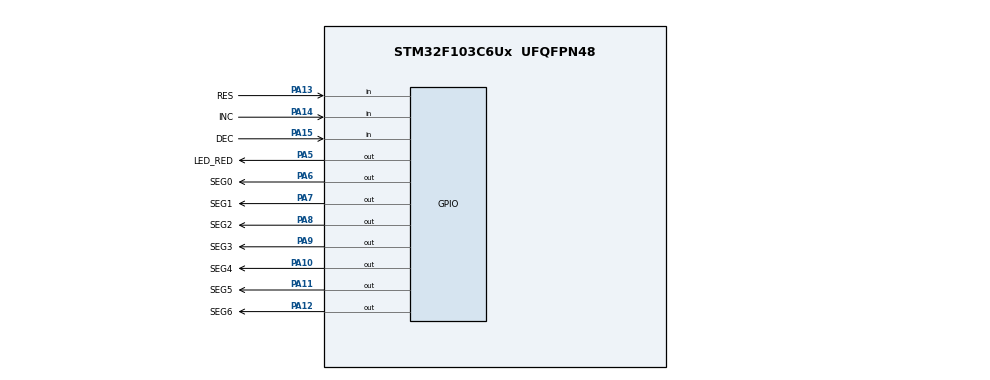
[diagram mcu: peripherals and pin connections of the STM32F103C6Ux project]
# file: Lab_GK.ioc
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Mcu.Family=STM32F1
Mcu.Name=STM32F103C6Ux
Mcu.Package=UFQFPN48
NVIC.PriorityGroup=NVIC_PRIORITYGROUP_4
NVIC.TIM2_IRQn=true\:0\:0\:false\:false\:true\:true\:true
PA10.GPIO_Label=SEG4
PA10.Signal=GPIO_Output
PA11.GPIO_Label=SEG5
PA11.Signal=GPIO_Output
PA12.GPIO_Label=SEG6
PA12.Signal=GPIO_Output
PA13.GPIO_Label=RES
PA13.GPIO_PuPd=GPIO_PULLUP
PA13.Signal=GPIO_Input
PA14.GPIO_Label=INC
PA14.GPIO_PuPd=GPIO_PULLUP
PA14.Signal=GPIO_Input
PA15.GPIO_Label=DEC
PA15.GPIO_PuPd=GPIO_PULLUP
PA15.Signal=GPIO_Input
PA5.GPIO_Label=LED_RED
PA5.Signal=GPIO_Output
PA6.GPIO_Label=SEG0
PA6.Signal=GPIO_Output
PA7.GPIO_Label=SEG1
PA7.Signal=GPIO_Output
PA8.GPIO_Label=SEG2
PA8.Signal=GPIO_Output
PA9.GPIO_Label=SEG3
PA9.Signal=GPIO_Output
ProjectManager.HeapSize=0x200
ProjectManager.StackSize=0x400
ProjectManager.TargetToolchain=STM32CubeIDE
RCC.APB1Freq_Value=8000000
RCC.APB2Freq_Value=8000000
TIM2.Period=9
TIM2.Prescaler=7999
VP_SYS_VS_ND.Mode=No_Debug
VP_TIM2_VS_ClockSourceINT.Mode=Internal
board=custom

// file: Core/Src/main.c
/* USER CODE BEGIN Header */
/**
  ******************************************************************************
  * @file           : main.c
  * @brief          : Main program body
  ******************************************************************************
  * @attention
  *
  * <h2><center>&copy; Copyright (c) 2022 STMicroelectronics.
  * All rights reserved.</center></h2>
  *
  * This software component is licensed by ST under BSD 3-Clause license,
  * the "License"; You may not use this file except in compliance with the
  * License. You may obtain a copy of the License at:
  *                        opensource.org/licenses/BSD-3-Clause
  *
  ******************************************************************************
  */
/* USER CODE END Header */
#include "main.h"

/* USER CODE BEGIN Includes */
#include "button.h"
#include "fsm_automatic.h"
#include "setTimer.h"
#include "fsm_manual_step2.h"
#include "led_blinky.h"
/* USER CODE END Includes */

TIM_HandleTypeDef htim2;

void SystemClock_Config(void);
static void MX_GPIO_Init(void);
static void MX_TIM2_Init(void);

int main(void)
{
  /* USER CODE BEGIN 1 */

  /* USER CODE END  1  */

  /* MCU Configuration--------------------------------------------------------*/

  /* Reset of all peripherals, Initializes the Flash interface and the Systick. */
  HAL_Init();

  /* Configure the system clock */
  SystemClock_Config();

  /* Initialize all configured peripherals */
  MX_GPIO_Init();
  MX_TIM2_Init();
  HAL_TIM_Base_Start_IT(&htim2);
  /* Infinite loop */
  /* USER CODE BEGIN WHILE */
  status=INIT;
  setTimer0(1000);
  led=0;
  while (1)
  {
    /* USER CODE END WHILE */

    /* USER CODE BEGIN 3 */
	  fsm_simple_buttons_run ();
	  led_blinky();
  }
  /* USER CODE END 3 */
}

void SystemClock_Config(void)
{
  RCC_OscInitTypeDef RCC_OscInitStruct = {0};
  RCC_ClkInitTypeDef RCC_ClkInitStruct = {0};

  /** Initializes the RCC Oscillators according to the specified parameters
  * in the RCC_OscInitTypeDef structure.
  */
  RCC_OscInitStruct.OscillatorType = RCC_OSCILLATORTYPE_HSI;
  RCC_OscInitStruct.HSIState = RCC_HSI_ON;
  RCC_OscInitStruct.HSICalibrationValue = RCC_HSICALIBRATION_DEFAULT;
  RCC_OscInitStruct.PLL.PLLState = RCC_PLL_NONE;
  if (HAL_RCC_OscConfig(&RCC_OscInitStruct) != HAL_OK)
  {
    Error_Handler();
  }
  /** Initializes the CPU, AHB and APB buses clocks
  */
  RCC_ClkInitStruct.ClockType = RCC_CLOCKTYPE_HCLK|RCC_CLOCKTYPE_SYSCLK
                              |RCC_CLOCKTYPE_PCLK1|RCC_CLOCKTYPE_PCLK2;
  RCC_ClkInitStruct.SYSCLKSource = RCC_SYSCLKSOURCE_HSI;
  RCC_ClkInitStruct.AHBCLKDivider = RCC_SYSCLK_DIV1;
  RCC_ClkInitStruct.APB1CLKDivider = RCC_HCLK_DIV1;
  RCC_ClkInitStruct.APB2CLKDivider = RCC_HCLK_DIV1;

  if (HAL_RCC_ClockConfig(&RCC_ClkInitStruct, FLASH_LATENCY_0) != HAL_OK)
  {
    Error_Handler();
  }
}

static void MX_TIM2_Init(void)
{

  TIM_ClockConfigTypeDef sClockSourceConfig = {0};
  TIM_MasterConfigTypeDef sMasterConfig = {0};

  htim2.Instance = TIM2;
  htim2.Init.Prescaler = 7999;
  htim2.Init.CounterMode = TIM_COUNTERMODE_UP;
  htim2.Init.Period = 9;
  htim2.Init.ClockDivision = TIM_CLOCKDIVISION_DIV1;
  htim2.Init.AutoReloadPreload = TIM_AUTORELOAD_PRELOAD_DISABLE;
  if (HAL_TIM_Base_Init(&htim2) != HAL_OK)
  {
    Error_Handler();
  }
  sClockSourceConfig.ClockSource = TIM_CLOCKSOURCE_INTERNAL;
  if (HAL_TIM_ConfigClockSource(&htim2, &sClockSourceConfig) != HAL_OK)
  {
    Error_Handler();
  }
  sMasterConfig.MasterOutputTrigger = TIM_TRGO_RESET;
  sMasterConfig.MasterSlaveMode = TIM_MASTERSLAVEMODE_DISABLE;
  if (HAL_TIMEx_MasterConfigSynchronization(&htim2, &sMasterConfig) != HAL_OK)
  {
    Error_Handler();
  }

}

static void MX_GPIO_Init(void)
{
  GPIO_InitTypeDef GPIO_InitStruct = {0};

  /* GPIO Ports Clock Enable */
  __HAL_RCC_GPIOA_CLK_ENABLE();

  /*Configure GPIO pin Output Level */
  HAL_GPIO_WritePin(GPIOA, LED_RED_Pin|SEG0_Pin|SEG1_Pin|SEG2_Pin
                          |SEG3_Pin|SEG4_Pin|SEG5_Pin|SEG6_Pin, GPIO_PIN_RESET);

  /*Configure GPIO pins : LED_RED_Pin SEG0_Pin SEG1_Pin SEG2_Pin
                           SEG3_Pin SEG4_Pin SEG5_Pin SEG6_Pin */
  GPIO_InitStruct.Pin = LED_RED_Pin|SEG0_Pin|SEG1_Pin|SEG2_Pin
                          |SEG3_Pin|SEG4_Pin|SEG5_Pin|SEG6_Pin;
  GPIO_InitStruct.Mode = GPIO_MODE_OUTPUT_PP;
  GPIO_InitStruct.Pull = GPIO_NOPULL;
  GPIO_InitStruct.Speed = GPIO_SPEED_FREQ_LOW;
  HAL_GPIO_Init(GPIOA, &GPIO_InitStruct);

  /*Configure GPIO pins : RES_Pin INC_Pin DEC_Pin */
  GPIO_InitStruct.Pin = RES_Pin|INC_Pin|DEC_Pin;
  GPIO_InitStruct.Mode = GPIO_MODE_INPUT;
  GPIO_InitStruct.Pull = GPIO_PULLUP;
  HAL_GPIO_Init(GPIOA, &GPIO_InitStruct);

}

/* USER CODE BEGIN 4 */

void HAL_TIM_PeriodElapsedCallback(TIM_HandleTypeDef *htim){
	timer_run();
	getRESETInput();
	getINCInput();
	getDECInput();

}
/* USER CODE END 4 */

void Error_Handler(void)
{
  __disable_irq();
  while (1)
  {
  }
}

/************************ (C) COPYRIGHT STMicroelectronics *****END OF FILE****/
